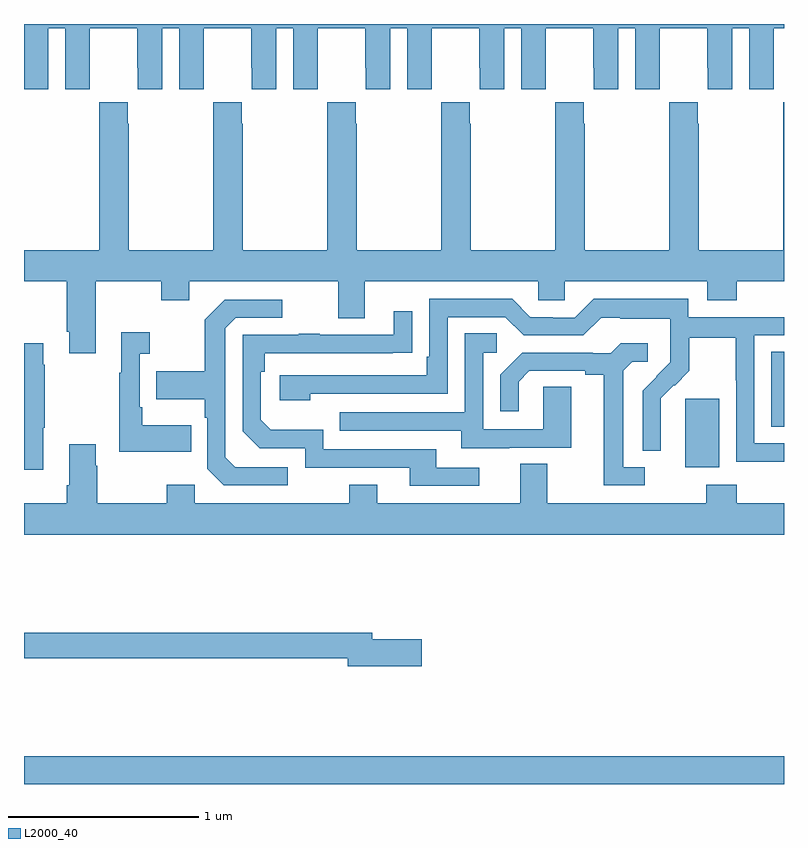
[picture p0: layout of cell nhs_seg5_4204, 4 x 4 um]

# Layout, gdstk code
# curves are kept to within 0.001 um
import gdstk
lib = gdstk.Library(unit=1e-6, precision=1e-09)
def R(c, l, rs):  # rectangles x0, y0, x1, y1
    for r in rs: c.add(gdstk.rectangle(r[:2], r[2:], *l))
def P(c, l, *ps):  # polygons
    for p in ps: c.add(gdstk.Polygon(p, *l))
L2000_40 = (2000, 40)

nhs_seg5_4204 = lib.new_cell('nhs_seg5_4204')
R(nhs_seg5_4204, L2000_40, [(359,836.799,363,836.944), (362.48,838.466,362.659,838.827), (362.933,838.678,363,839.075)])
P(nhs_seg5_4204, L2000_40, [(359.128,840.776),(359.216,840.776),(359.216,840.456),(359.346,840.456),(359.346,840.568),(359.347,840.568),(359.347,840.776),(359.597,840.776),(359.597,840.568),(359.598,840.568),(359.598,840.456),(359.728,840.456),(359.728,840.776),(359.816,840.776),(359.816,840.456),(359.946,840.456),(359.946,840.568),(359.947,840.568),(359.947,840.776),(360.197,840.776),(360.197,840.568),(360.198,840.568),(360.198,840.456),(360.328,840.456),(360.328,840.776),(360.416,840.776),(360.416,840.456),(360.546,840.456),(360.546,840.568),(360.547,840.568),(360.547,840.776),(360.797,840.776),(360.797,840.568),(360.798,840.568),(360.798,840.456),(360.928,840.456),(360.928,840.776),(361.016,840.776),(361.016,840.456),(361.146,840.456),(361.146,840.568),(361.147,840.568),(361.147,840.776),(361.397,840.776),(361.397,840.568),(361.398,840.568),(361.398,840.456),(361.528,840.456),(361.528,840.776),(361.616,840.776),(361.616,840.456),(361.746,840.456),(361.746,840.568),(361.747,840.568),(361.747,840.776),(361.997,840.776),(361.997,840.568),(361.998,840.568),(361.998,840.456),(362.128,840.456),(362.128,840.776),(362.216,840.776),(362.216,840.456),(362.346,840.456),(362.346,840.568),(362.347,840.568),(362.347,840.776),(362.597,840.776),(362.597,840.568),(362.598,840.568),(362.598,840.456),(362.728,840.456),(362.728,840.776),(362.816,840.776),(362.816,840.456),(362.946,840.456),(362.946,840.568),(362.947,840.568),(362.947,840.776),(363,840.776),(363,840.799),(359,840.799),(359,840.456),(359.128,840.456)],
  [(359.377,839.444),(359.722,839.444),(359.722,839.345),(359.869,839.345),(359.869,839.444),(360.653,839.444),(360.653,839.25),(360.793,839.25),(360.793,839.444),(361.707,839.444),(361.707,839.346),(361.845,839.346),(361.845,839.444),(362.597,839.444),(362.597,839.345),(362.75,839.345),(362.75,839.444),(363,839.444),(363,840.388),(362.997,840.388),(362.997,840.275),(362.995,840.275),(362.995,839.608),(362.55,839.608),(362.55,840.275),(362.547,840.275),(362.547,840.388),(362.397,840.388),(362.397,840.275),(362.395,840.275),(362.395,839.608),(361.95,839.608),(361.95,840.275),(361.947,840.275),(361.947,840.388),(361.797,840.388),(361.797,840.275),(361.795,840.275),(361.795,839.608),(361.35,839.608),(361.35,840.275),(361.347,840.275),(361.347,840.388),(361.197,840.388),(361.197,840.275),(361.195,840.275),(361.195,839.608),(360.75,839.608),(360.75,840.275),(360.747,840.275),(360.747,840.388),(360.597,840.388),(360.597,840.275),(360.595,840.275),(360.595,839.608),(360.15,839.608),(360.15,840.275),(360.147,840.275),(360.147,840.388),(359.997,840.388),(359.997,840.275),(359.995,840.275),(359.995,839.608),(359.55,839.608),(359.55,840.275),(359.547,840.275),(359.547,840.388),(359.397,840.388),(359.397,840.275),(359.395,840.275),(359.395,839.608),(359,839.608),(359,839.444),(359.225,839.444),(359.225,839.179),(359.237,839.179),(359.237,839.067),(359.377,839.067)],
  [(363,838.593),(362.844,838.593),(362.844,839.16),(363,839.16),(363,839.256),(362.496,839.256),(362.496,839.353),(361.999,839.353),(361.899,839.253),(361.784,839.253),(361.784,839.256),(361.665,839.256),(361.569,839.352),(361.134,839.352),(361.134,839.047),(361.121,839.047),(361.121,838.95),(360.345,838.95),(360.345,838.82),(360.506,838.82),(360.506,838.854),(361.23,838.854),(361.23,839.256),(361.533,839.256),(361.629,839.16),(361.944,839.16),(362.037,839.253),(362.137,839.253),(362.137,839.249),(362.4,839.249),(362.4,839.115),(362.402,839.115),(362.402,839.018),(362.256,838.87),(362.256,838.552),(362.352,838.552),(362.351,838.829),(362.421,838.899),(362.424,838.896),(362.501,838.973),(362.501,839.148),(362.746,839.148),(362.746,838.924),(362.748,838.924),(362.748,838.495),(363,838.495)],
  [(360.388,838.467),(360.111,838.467),(360.06,838.518),(360.06,839.199),(360.114,839.253),(360.358,839.253),(360.358,839.349),(360.057,839.349),(359.952,839.243),(359.952,838.971),(359.695,838.971),(359.695,838.823),(359.952,838.823),(359.952,838.727),(359.964,838.727),(359.964,838.458),(360.051,838.371),(360.388,838.371)],
  [(361.396,838.464),(361.171,838.464),(361.171,838.56),(360.576,838.56),(360.576,838.663),(360.299,838.663),(360.246,838.716),(360.246,838.97),(360.266,838.97),(360.266,839.067),(361.043,839.068),(361.043,839.287),(360.947,839.287),(360.947,839.163),(360.557,839.163),(360.557,839.168),(360.445,839.168),(360.445,839.163),(360.15,839.163),(360.15,838.656),(360.24,838.566),(360.48,838.566),(360.48,838.464),(361.031,838.464),(361.031,838.368),(361.396,838.368)],
  [(359.879,838.687),(359.623,838.687),(359.623,838.783),(359.61,838.783),(359.61,839.063),(359.662,839.063),(359.662,839.176),(359.513,839.176),(359.513,838.963),(359.502,838.963),(359.502,838.547),(359.879,838.547)],
  [(361.555,838.569),(361.879,838.569),(361.879,838.889),(361.734,838.889),(361.734,838.665),(361.416,838.665),(361.416,839.07),(361.489,839.07),(361.489,839.171),(361.32,839.171),(361.32,838.755),(360.661,838.755),(360.661,838.659),(361.301,838.659),(361.301,838.565),(361.555,838.565)],
  [(362.266,838.467),(362.155,838.467),(362.155,838.975),(362.202,839.022),(362.284,839.022),(362.284,839.119),(362.14,839.119),(362.088,839.067),(361.994,839.067),(361.994,839.07),(361.622,839.07),(361.506,838.954),(361.506,838.761),(361.603,838.761),(361.603,838.917),(361.66,838.974),(361.955,838.974),(361.955,838.952),(362.051,838.952),(362.051,838.371),(362.266,838.371)],
  [(359.101,838.675),(359.109,838.675),(359.109,839.006),(359.101,839.006),(359.101,839.119),(359,839.119),(359,838.452),(359.101,838.452)],
  [(363,838.276),(362.75,838.276),(362.75,838.375),(362.59,838.375),(362.59,838.276),(361.753,838.276),(361.753,838.484),(361.613,838.484),(361.613,838.276),(360.859,838.276),(360.859,838.375),(360.712,838.375),(360.712,838.276),(359.898,838.276),(359.898,838.375),(359.752,838.375),(359.752,838.276),(359.385,838.276),(359.385,838.475),(359.377,838.475),(359.377,838.588),(359.237,838.588),(359.237,838.372),(359.225,838.372),(359.225,838.276),(359,838.276),(359,838.112),(363,838.112)],
  [(361.093,837.56),(360.832,837.56),(360.832,837.596),(359,837.596),(359,837.46),(360.704,837.46),(360.704,837.418),(361.093,837.418)])

lib.write_gds('nhs_seg5_4204.gds')
